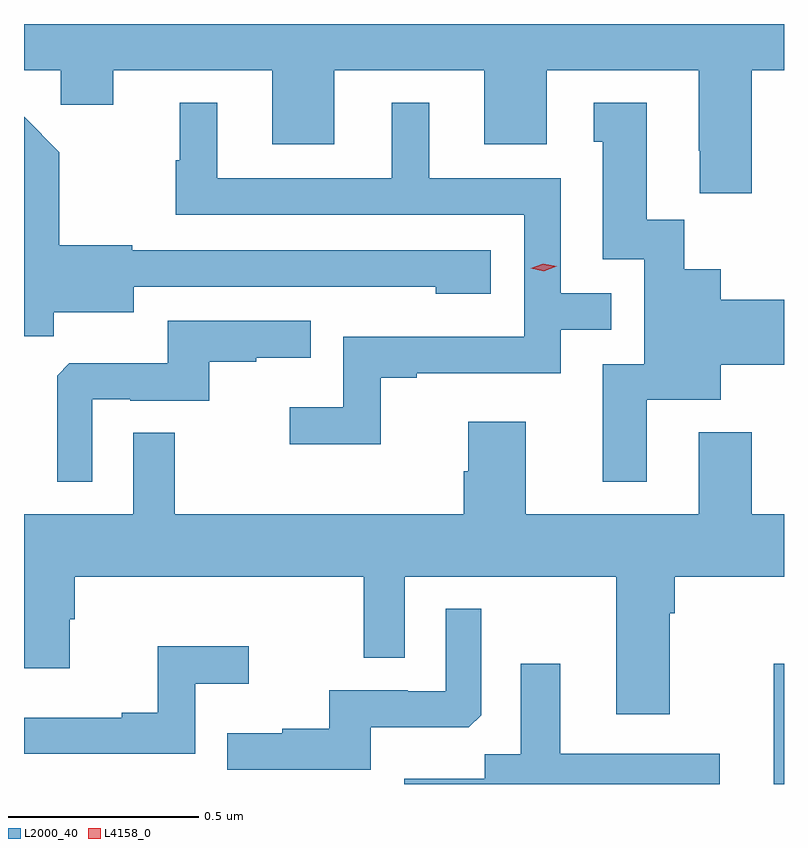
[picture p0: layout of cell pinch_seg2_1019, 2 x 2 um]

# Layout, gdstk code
import gdstk
lib = gdstk.Library(unit=1e-6, precision=1e-09)
def R(c, l, rs):  # rectangles x0, y0, x1, y1
    for r in rs: c.add(gdstk.rectangle(r[:2], r[2:], *l))
def P(c, l, *ps):  # polygons
    for p in ps: c.add(gdstk.Polygon(p, *l))
L2000_40 = (2000, 40)
L4158_0 = (4158, 0)

pinch_seg2_1019 = lib.new_cell('pinch_seg2_1019')
R(pinch_seg2_1019, L2000_40, [(207.599,656.414,207.626,656.731)])
P(pinch_seg2_1019, L2000_40, [(207.541,658.292),(207.626,658.292),(207.626,658.414),(205.626,658.414),(205.626,658.292),(205.723,658.292),(205.723,658.202),(205.861,658.202),(205.861,658.292),(206.279,658.292),(206.279,658.098),(206.443,658.098),(206.443,658.292),(206.837,658.292),(206.837,658.098),(207.001,658.098),(207.001,658.292),(207.401,658.292),(207.401,658.081),(207.404,658.081),(207.404,657.969),(207.541,657.969)],
  [(206.565,657.483),(206.659,657.483),(206.659,657.495),(207.039,657.495),(207.039,657.609),(207.172,657.609),(207.172,657.705),(207.039,657.705),(207.039,658.008),(206.692,658.008),(206.692,658.207),(206.594,658.207),(206.594,658.008),(206.134,658.008),(206.134,658.207),(206.036,658.207),(206.036,658.056),(206.025,658.056),(206.025,657.912),(206.943,657.912),(206.943,657.591),(206.466,657.591),(206.466,657.406),(206.325,657.406),(206.325,657.308),(206.565,657.308)],
  [(207.265,657.425),(207.46,657.425),(207.46,657.517),(207.626,657.517),(207.626,657.689),(207.46,657.689),(207.46,657.769),(207.363,657.769),(207.363,657.899),(207.265,657.899),(207.265,658.207),(207.125,658.207),(207.125,658.104),(207.149,658.104),(207.149,657.795),(207.258,657.795),(207.258,657.519),(207.149,657.519),(207.149,657.21),(207.265,657.21)],
  [(205.704,657.656),(205.915,657.656),(205.915,657.723),(206.473,657.723),(206.473,657.722),(206.709,657.722),(206.709,657.704),(206.854,657.704),(206.854,657.819),(205.911,657.819),(205.911,657.832),(205.719,657.832),(205.719,658.077),(205.626,658.17),(205.626,657.592),(205.704,657.592)],
  [(205.806,657.426),(205.906,657.426),(205.906,657.423),(206.114,657.423),(206.114,657.525),(206.237,657.525),(206.237,657.536),(206.381,657.536),(206.381,657.633),(206.004,657.633),(206.004,657.521),(205.745,657.521),(205.713,657.489),(205.713,657.209),(205.806,657.209)],
  [(207.325,656.864),(207.338,656.864),(207.338,656.96),(207.626,656.96),(207.626,657.124),(207.541,657.124),(207.541,657.34),(207.401,657.34),(207.401,657.124),(206.947,657.124),(206.947,657.367),(206.795,657.367),(206.795,657.237),(206.783,657.237),(206.783,657.124),(206.023,657.124),(206.023,657.338),(205.914,657.338),(205.914,657.124),(205.626,657.124),(205.626,656.718),(205.747,656.718),(205.747,656.847),(205.76,656.847),(205.76,656.96),(206.52,656.96),(206.52,656.746),(206.628,656.746),(206.628,656.96),(207.185,656.96),(207.185,656.598),(207.325,656.598)],
  [(206.539,656.564),(206.797,656.564),(206.829,656.595),(206.829,656.875),(206.736,656.875),(206.736,656.658),(206.636,656.658),(206.636,656.661),(206.429,656.661),(206.429,656.56),(206.305,656.56),(206.305,656.548),(206.161,656.548),(206.161,656.451),(206.539,656.451)],
  [(206.076,656.678),(206.218,656.678),(206.218,656.777),(205.978,656.777),(205.978,656.602),(205.883,656.602),(205.883,656.589),(205.626,656.589),(205.626,656.493),(206.076,656.493)],
  [(207.457,656.494),(207.037,656.494),(207.037,656.731),(206.933,656.731),(206.933,656.492),(206.838,656.492),(206.838,656.428),(206.627,656.428),(206.627,656.414),(207.457,656.414)])
P(pinch_seg2_1019, L4158_0, [(206.994,657.763),(206.959,657.771),(206.959,657.771),(206.959,657.771),(206.993,657.783),(207.028,657.776),(207.028,657.776),(207.028,657.776)])

lib.write_gds('pinch_seg2_1019.gds')
